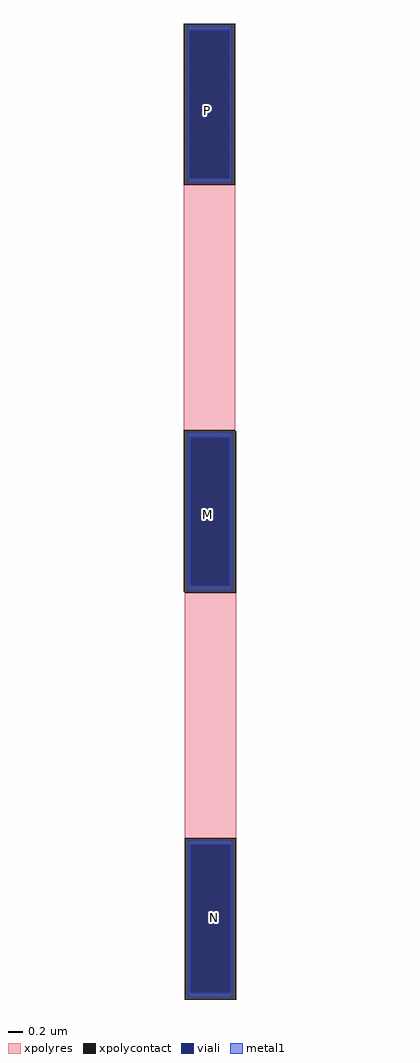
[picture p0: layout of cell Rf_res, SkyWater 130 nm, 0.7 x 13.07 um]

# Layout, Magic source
magic
tech sky130A
magscale 1 2
use sky130_fd_pr__res_xhigh_po_0p69_2LTKQM  sky130_fd_pr__res_xhigh_po_0p69_2LTKQM_0
transform 1 0 727 0 1 393
box -69 -761 69 761
use sky130_fd_pr__res_xhigh_po_0p69_2LTKQM  sky130_fd_pr__res_xhigh_po_0p69_2LTKQM_1
transform 1 0 729 0 1 -699
box -69 -761 69 761
<< labels >>
flabel space 720 920 720 920 0 FreeSans 1600 0 0 0 P
port 0 nsew
flabel space 740 -1240 740 -1240 0 FreeSans 1600 0 0 0 N
port 1 nsew
flabel space 720 -160 720 -160 0 FreeSans 1600 0 0 0 M
port 2 nsew
<< end >>

# cell sky130_fd_pr__res_xhigh_po_0p69_2LTKQM: kit device sky130_fd_pr__res_xhigh_po_0p69, w 0.69 l 3.45 m 1 nx 1 wmin 0.690 lmin 0.50 rho 2000 val 10.545k dummy 0 dw 0.0 term 188.2 sterm 0.0 caplen 0 wmax 0.690 guard 0 glc 0 grc 0 gtc 0 gbc 0 compatible {sky130_fd_pr__res_xhigh_po_0p35 sky130_fd_pr__res_xhigh_po_0p69 sky130_fd_pr__res_xhigh_po_1p41 sky130_fd_pr__res_xhigh_po_2p85 sky130_fd_pr__res_xhigh_po_5p73} snake 0 full_metal 0 n_guard 0 hv_guard 0 vias 1 viagb 0 viagt 0 viagl 0 viagr 0
